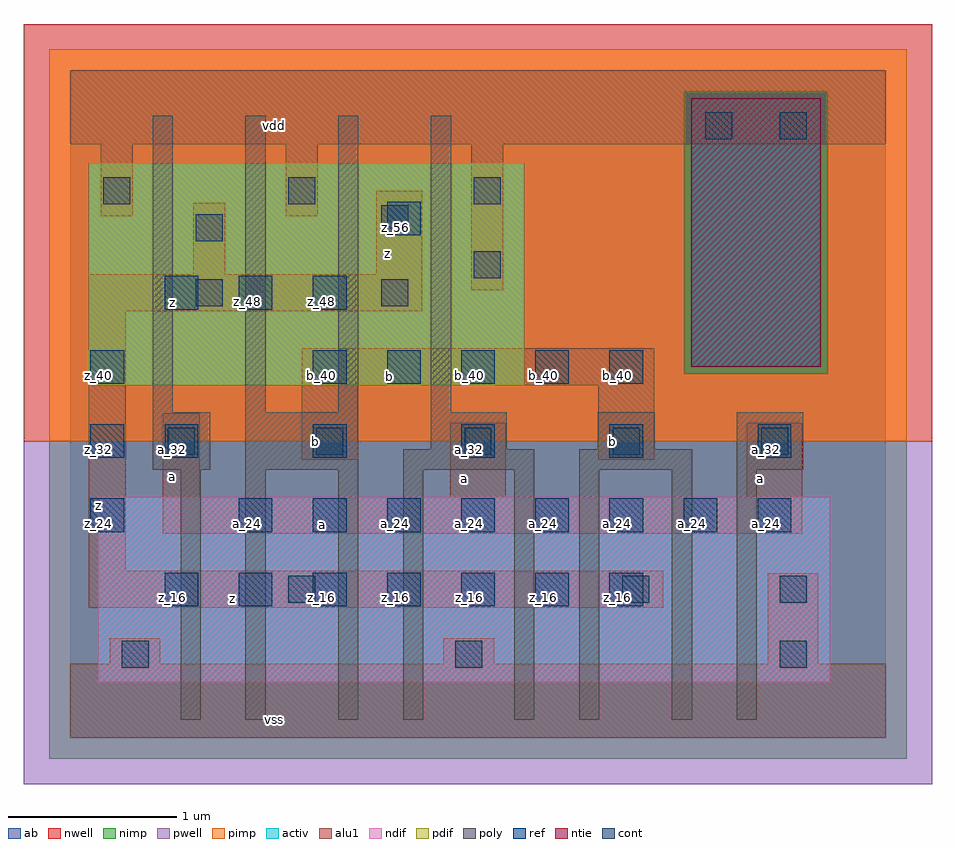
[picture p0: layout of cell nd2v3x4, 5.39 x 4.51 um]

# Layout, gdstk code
import gdstk
lib = gdstk.Library(unit=1e-6, precision=2.5e-09)
def R(c, l, rs):  # rectangles x0, y0, x1, y1
    for r in rs: c.add(gdstk.rectangle(r[:2], r[2:], *l))
def A(c, l, x, y, w, h, nx, ny, dx, dy):  # array of equal rectangles
    R(c, l, [(x+i*dx, y+j*dy, x+i*dx+w, y+j*dy+h) for i in range(nx) for j in range(ny)])
ndif = (3, 0)
pdif = (4, 0)
ntie = (5, 0)
ref = (24, 0)
cont = (25, 0)
pwell = (41, 0)
nwell = (42, 0)
activ = (43, 0)
pimp = (44, 0)
nimp = (45, 0)
poly = (46, 0)
alu1 = (49, 0)
ab = (63, 0)

nd2v3x4 = lib.new_cell('nd2v3x4')
R(nd2v3x4, ndif, [(0.165,0.33,4.51,1.43)])
R(nd2v3x4, pdif, [(0.11,2.09,2.695,3.41)])
R(nd2v3x4, ntie, [(3.685,2.2,4.455,3.795)])
A(nd2v3x4, ref, 0.56, 0.78, 0.2, 0.2, 7, 1, 0.44, 0)
A(nd2v3x4, ref, 0.12, 1.22, 0.2, 0.2, 1, 3, 0, 0.44)
A(nd2v3x4, ref, 1, 1.22, 0.2, 0.2, 8, 1, 0.44, 0)
A(nd2v3x4, ref, 0.56, 1.66, 0.2, 0.2, 5, 1, 0.88, 0)
A(nd2v3x4, ref, 1.44, 2.1, 0.2, 0.2, 5, 1, 0.44, 0)
A(nd2v3x4, ref, 0.56, 2.54, 0.2, 0.2, 3, 1, 0.44, 0)
R(nd2v3x4, ref, [(1.88,2.98,2.08,3.18)])
A(nd2v3x4, cont, 0.58, 1.68, 0.16, 0.16, 5, 1, 0.88, 0)
A(nd2v3x4, cont, 0.195, 3.165, 0.16, 0.16, 3, 1, 1.1, 0)
R(nd2v3x4, cont, [(0.305,0.415,0.465,0.575), (2.285,0.415,2.445,0.575), (4.21,0.415,4.37,0.575), (1.295,0.8,1.455,0.96), (3.275,0.8,3.435,0.96), (4.21,0.8,4.37,0.96), (0.745,2.56,0.905,2.72), (1.845,2.56,2.005,2.72), (2.395,2.725,2.555,2.885), (0.745,2.945,0.905,3.105), (1.845,3,2.005,3.16), (3.77,3.55,3.93,3.71), (4.21,3.55,4.37,3.71)])
R(nd2v3x4, pwell, [(-0.275,-0.275,5.115,1.76)])
R(nd2v3x4, nwell, [(-0.275,1.76,5.115,4.235)])
R(nd2v3x4, activ, [(0.165,0.33,4.51,1.43), (0.11,2.09,2.695,3.41), (3.685,2.2,4.455,3.795)])
R(nd2v3x4, pimp, [(-0.125,1.76,4.965,2.16), (-0.125,2.16,3.645,3.835), (4.495,2.16,4.965,3.835), (-0.125,3.835,4.965,4.085)])
R(nd2v3x4, nimp, [(-0.125,-0.125,4.965,1.76), (3.645,2.16,4.495,3.835)])
A(nd2v3x4, poly, 0.49, 1.93, 0.12, 1.76, 4, 1, 0.55, 0)
R(nd2v3x4, poly, [(0.655,0.105,0.775,1.59), (1.04,0.105,1.16,1.59), (1.59,0.105,1.71,1.59), (1.975,0.105,2.095,1.59), (2.635,0.105,2.755,1.59), (3.02,0.105,3.14,1.59), (3.57,0.105,3.69,1.59), (3.955,0.105,4.075,1.59), (0.49,1.59,0.83,1.93), (1.04,1.59,1.71,1.93), (1.975,1.59,2.755,1.71), (3.02,1.59,3.69,1.71), (3.955,1.59,4.35,1.93), (2.14,1.71,2.59,1.93), (3.13,1.71,3.47,1.93)])
R(nd2v3x4, alu1, [(0,0,4.84,0.44), (0.235,0.44,0.535,0.59), (2.215,0.44,2.515,0.59), (4.14,0.44,4.44,0.975), (0.11,0.77,3.52,0.99), (0.11,0.99,0.33,2.53), (0.55,1.21,4.345,1.43), (0.55,1.43,0.77,1.925), (2.255,1.43,2.585,1.87), (4.015,1.43,4.345,1.87), (1.375,1.65,1.705,2.09), (3.135,1.65,3.465,2.09), (1.375,2.09,3.465,2.31), (0.11,2.53,2.09,2.75), (2.38,2.655,2.57,3.52), (0.73,2.75,0.92,3.175), (1.815,2.75,2.09,3.245), (0.18,3.095,0.37,3.52), (1.28,3.095,1.47,3.52), (0,3.52,4.84,3.96)])
R(nd2v3x4, ab, [(0,0,4.84,3.96)])
nd2v3x4.add(gdstk.Label('vss', (1.21,0.11), layer=49, texttype=0))
nd2v3x4.add(gdstk.Label('z', (0.9625,0.825), layer=49, texttype=0))
nd2v3x4.add(gdstk.Label('a', (1.4975,1.265), layer=49, texttype=0))
nd2v3x4.add(gdstk.Label('a', (4.0975,1.54), layer=49, texttype=0))
nd2v3x4.add(gdstk.Label('b', (3.2175,1.76), layer=49, texttype=0))
nd2v3x4.add(gdstk.Label('a', (2.3375,1.54), layer=49, texttype=0))
nd2v3x4.add(gdstk.Label('b', (1.4575,1.76), layer=49, texttype=0))
nd2v3x4.add(gdstk.Label('a', (0.605,1.5525), layer=49, texttype=0))
nd2v3x4.add(gdstk.Label('b', (1.8975,2.145), layer=49, texttype=0))
nd2v3x4.add(gdstk.Label('z', (0.165,1.375), layer=49, texttype=0))
nd2v3x4.add(gdstk.Label('z', (0.605,2.585), layer=49, texttype=0))
nd2v3x4.add(gdstk.Label('z', (1.8825,2.8725), layer=49, texttype=0))
nd2v3x4.add(gdstk.Label('vdd', (1.21,3.63), layer=49, texttype=0))
nd2v3x4.add(gdstk.Label('z_16', (0.61,0.83), layer=24, texttype=0))
nd2v3x4.add(gdstk.Label('a_32', (0.61,1.71), layer=24, texttype=0))
nd2v3x4.add(gdstk.Label('z_48', (0.61,2.59), layer=24, texttype=0))
nd2v3x4.add(gdstk.Label('z_16', (1.05,0.83), layer=24, texttype=0))
nd2v3x4.add(gdstk.Label('a_24', (1.05,1.27), layer=24, texttype=0))
nd2v3x4.add(gdstk.Label('z_48', (1.05,2.59), layer=24, texttype=0))
nd2v3x4.add(gdstk.Label('z_16', (1.49,0.83), layer=24, texttype=0))
nd2v3x4.add(gdstk.Label('a_24', (1.49,1.27), layer=24, texttype=0))
nd2v3x4.add(gdstk.Label('b_32', (1.49,1.71), layer=24, texttype=0))
nd2v3x4.add(gdstk.Label('b_40', (1.49,2.15), layer=24, texttype=0))
nd2v3x4.add(gdstk.Label('z_48', (1.49,2.59), layer=24, texttype=0))
nd2v3x4.add(gdstk.Label('z_16', (1.93,0.83), layer=24, texttype=0))
nd2v3x4.add(gdstk.Label('a_24', (1.93,1.27), layer=24, texttype=0))
nd2v3x4.add(gdstk.Label('b_40', (1.93,2.15), layer=24, texttype=0))
nd2v3x4.add(gdstk.Label('z_56', (1.93,3.03), layer=24, texttype=0))
nd2v3x4.add(gdstk.Label('z_24', (0.17,1.27), layer=24, texttype=0))
nd2v3x4.add(gdstk.Label('z_32', (0.17,1.71), layer=24, texttype=0))
nd2v3x4.add(gdstk.Label('z_40', (0.17,2.15), layer=24, texttype=0))
nd2v3x4.add(gdstk.Label('z_16', (2.37,0.83), layer=24, texttype=0))
nd2v3x4.add(gdstk.Label('a_24', (2.37,1.27), layer=24, texttype=0))
nd2v3x4.add(gdstk.Label('a_32', (2.37,1.71), layer=24, texttype=0))
nd2v3x4.add(gdstk.Label('b_40', (2.37,2.15), layer=24, texttype=0))
nd2v3x4.add(gdstk.Label('z_16', (2.81,0.83), layer=24, texttype=0))
nd2v3x4.add(gdstk.Label('a_24', (2.81,1.27), layer=24, texttype=0))
nd2v3x4.add(gdstk.Label('b_40', (2.81,2.15), layer=24, texttype=0))
nd2v3x4.add(gdstk.Label('z_16', (3.25,0.83), layer=24, texttype=0))
nd2v3x4.add(gdstk.Label('a_24', (3.25,1.27), layer=24, texttype=0))
nd2v3x4.add(gdstk.Label('b_32', (3.25,1.71), layer=24, texttype=0))
nd2v3x4.add(gdstk.Label('b_40', (3.25,2.15), layer=24, texttype=0))
nd2v3x4.add(gdstk.Label('a_24', (3.69,1.27), layer=24, texttype=0))
nd2v3x4.add(gdstk.Label('a_24', (4.13,1.27), layer=24, texttype=0))
nd2v3x4.add(gdstk.Label('a_32', (4.13,1.71), layer=24, texttype=0))

lib.write_gds('nd2v3x4.gds')
